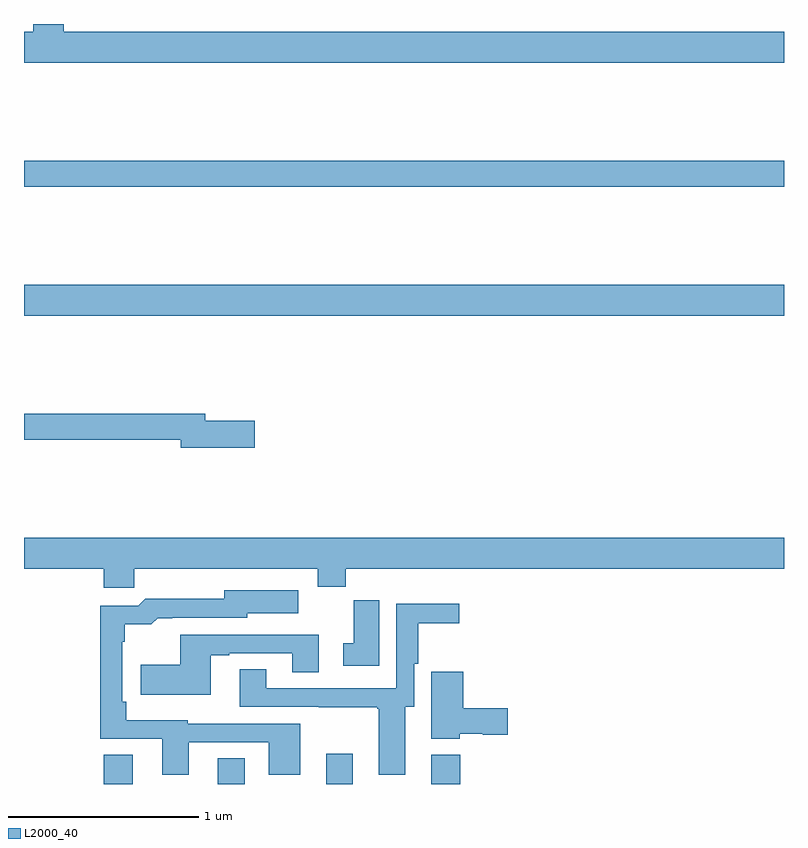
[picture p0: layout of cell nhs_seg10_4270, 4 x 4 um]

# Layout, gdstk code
import gdstk
lib = gdstk.Library(unit=1e-6, precision=1e-09)
def R(c, l, rs):  # rectangles x0, y0, x1, y1
    for r in rs: c.add(gdstk.rectangle(r[:2], r[2:], *l))
def P(c, l, *ps):  # polygons
    for p in ps: c.add(gdstk.Polygon(p, *l))
L2000_40 = (2000, 40)

nhs_seg10_4270 = lib.new_cell('nhs_seg10_4270')
R(nhs_seg10_4270, L2000_40, [(349.421,1316.5,349.573,1316.654), (350.021,1316.5,350.161,1316.636), (350.591,1316.5,350.731,1316.659), (351.143,1316.5,351.296,1316.653), (349,1318.964,353,1319.128), (349,1319.644,353,1319.78)])
P(nhs_seg10_4270, L2000_40, [(353,1320.46),(349.208,1320.46),(349.208,1320.5),(349.048,1320.5),(349.048,1320.46),(349,1320.46),(349,1320.296),(353,1320.296)],
  [(350.215,1318.412),(349.954,1318.412),(349.954,1318.448),(349,1318.448),(349,1318.312),(349.826,1318.312),(349.826,1318.27),(350.215,1318.27)],
  [(349.581,1317.632),(350.546,1317.632),(350.546,1317.537),(350.693,1317.537),(350.693,1317.632),(353,1317.632),(353,1317.796),(349,1317.796),(349,1317.632),(349.421,1317.632),(349.421,1317.534),(349.581,1317.534)],
  [(349.867,1316.721),(350.288,1316.721),(350.288,1316.55),(350.455,1316.55),(350.455,1316.817),(349.863,1316.817),(349.863,1316.836),(349.538,1316.836),(349.538,1316.932),(349.518,1316.932),(349.518,1317.248),(349.531,1317.248),(349.531,1317.341),(349.671,1317.341),(349.703,1317.373),(349.78,1317.373),(349.78,1317.375),(350.175,1317.375),(350.175,1317.398),(350.443,1317.398),(350.443,1317.52),(350.054,1317.52),(350.054,1317.475),(349.639,1317.475),(349.602,1317.438),(349.402,1317.438),(349.402,1316.739),(349.727,1316.739),(349.727,1316.55),(349.867,1316.55)],
  [(350.869,1317.467),(350.735,1317.467),(350.735,1317.24),(350.679,1317.24),(350.679,1317.122),(350.869,1317.122)],
  [(351.007,1316.907),(351.054,1316.907),(351.054,1317.132),(351.074,1317.132),(351.074,1317.346),(351.292,1317.346),(351.292,1317.449),(350.958,1317.449),(350.958,1317.003),(350.275,1317.003),(350.275,1317.104),(350.135,1317.104),(350.135,1316.907),(350.551,1316.907),(350.551,1316.905),(350.86,1316.905),(350.86,1316.895),(350.867,1316.895),(350.867,1316.55),(351.007,1316.55)],
  [(349.984,1317.177),(350.08,1317.177),(350.08,1317.189),(350.411,1317.189),(350.411,1317.088),(350.551,1317.088),(350.551,1317.285),(349.823,1317.285),(349.823,1317.127),(349.614,1317.127),(349.614,1316.969),(349.984,1316.969)],
  [(351.294,1316.765),(351.414,1316.765),(351.414,1316.758),(351.547,1316.758),(351.547,1316.9),(351.311,1316.9),(351.311,1317.091),(351.143,1317.091),(351.143,1316.738),(351.294,1316.738)])

lib.write_gds('nhs_seg10_4270.gds')
